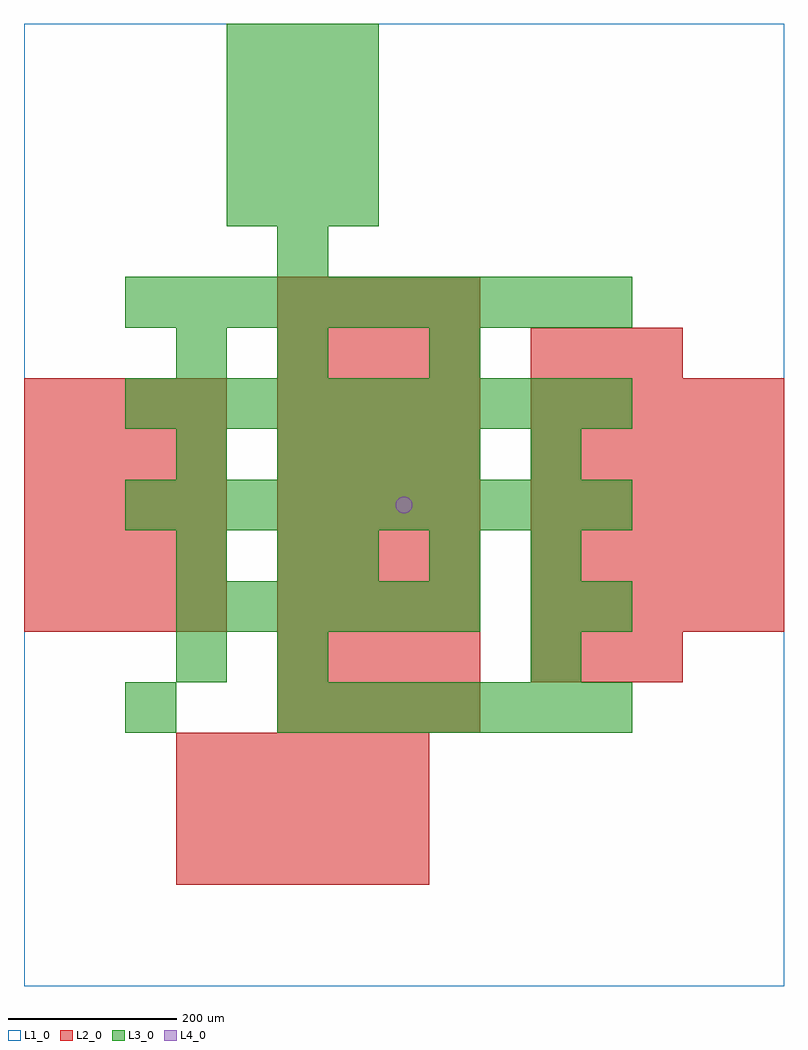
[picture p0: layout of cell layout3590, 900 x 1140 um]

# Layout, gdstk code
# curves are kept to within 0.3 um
import gdstk
lib = gdstk.Library(unit=1e-6, precision=1e-09)
def R(c, l, rs):  # rectangles x0, y0, x1, y1
    for r in rs: c.add(gdstk.rectangle(r[:2], r[2:], *l))
def A(c, l, x, y, w, h, nx, ny, dx, dy):  # array of equal rectangles
    R(c, l, [(x+i*dx, y+j*dy, x+i*dx+w, y+j*dy+h) for i in range(nx) for j in range(ny)])
def P(c, l, *ps):  # polygons
    for p in ps: c.add(gdstk.Polygon(p, *l))
L1_0 = (1, 0)
L2_0 = (2, 0)
L3_0 = (3, 0)
L4_0 = (4, 0)

layout3590 = lib.new_cell('layout3590')
R(layout3590, L1_0, [(0,0,900,1140)])
A(layout3590, L2_0, 180, 120, 60, 60, 5, 3, 60, 60)
A(layout3590, L2_0, 300, 300, 60, 60, 4, 9, 60, 60)
A(layout3590, L2_0, 600, 360, 60, 60, 3, 2, 60, 360)
A(layout3590, L2_0, 0, 420, 60, 60, 4, 5, 60, 60)
A(layout3590, L2_0, 600, 420, 60, 60, 5, 5, 60, 60)
A(layout3590, L3_0, 300, 300, 60, 60, 7, 1, 60, 0)
A(layout3590, L3_0, 180, 360, 60, 60, 1, 4, 0, 120)
A(layout3590, L3_0, 180, 420, 60, 60, 6, 1, 60, 0)
A(layout3590, L3_0, 360, 480, 60, 60, 3, 1, 120, 0)
A(layout3590, L3_0, 120, 540, 60, 60, 10, 3, 60, 120)
A(layout3590, L3_0, 300, 600, 60, 60, 4, 1, 60, 0)
A(layout3590, L3_0, 240, 900, 60, 60, 3, 4, 60, 60)
R(layout3590, L3_0, [(120,300,180,360), (300,360,360,420), (600,360,660,420), (600,420,660,480), (660,420,720,480), (300,480,360,540), (600,600,660,660), (300,720,360,780), (480,720,540,780), (300,840,360,900)])
P(layout3590, L4_0, [(460,570),(459.239,573.827),(457.071,577.071),(453.827,579.239),(450,580),(446.173,579.239),(442.929,577.071),(440.761,573.827),(440,570),(440.761,566.173),(442.929,562.929),(446.173,560.761),(450,560),(453.827,560.761),(457.071,562.929),(459.239,566.173)])

lib.write_gds('layout3590.gds')
